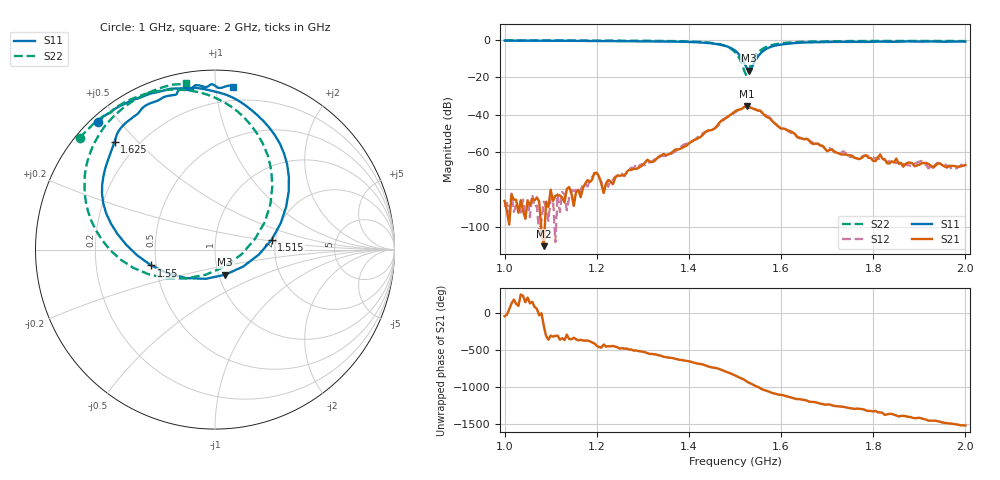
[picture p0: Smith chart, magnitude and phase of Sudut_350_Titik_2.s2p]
# Hz S RI R 50
! CMT, C1220, 16058040, 17.2.0/1
! Date: 14/08/2018 12:50:18
! Data: Format (Calibration Info)
! Freq  S11: Re/Im (F2)  S21: Re/Im (F2)  S12: Re/Im (F2)  S22: Re/Im (F2)
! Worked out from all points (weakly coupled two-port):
!   201 points, 1 GHz to 2 GHz, reference 50 ohm
!   highest |S21| = -35.37 dB at 1.525 GHz (marker M1); lowest = -110.3 dB at 1.085 GHz (marker M2)
!   lowest |S11| = -16.4 dB at 1.53 GHz (marker M3), VSWR 1.36, Z = 53.8 - j15.4 ohm
!   |S11| at or under -10 dB: 1.515 GHz to 1.547 GHz (31.35 MHz wide, 2.05 % of centre)
!   |S22| runs from -19.2 to -0.2 dB; largest |S21 - S12| = 0.00078
!   S11 on the Smith chart (normalised r, x): 1 GHz: 0.02, +0.44; 1.515 GHz: 1.90, +0.23; 1.55 GHz: 0.47, -0.10; 1.625 GHz: 0.12, +0.43; 2 GHz: 0.10, +1.11
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1e9  -0.6514 0.7133  3.58e-05 -3.42e-05  -3.39e-05 5.61e-07  -0.7536 0.6216
1.085e9  -0.5659 0.777  -3.02e-06 -3.08e-07  -1.22e-05 4.58e-05  -0.693 0.6845
1.17e9  -0.4813 0.8232  0.000107 -2.22e-05  0.000128 4.98e-05  -0.6183 0.7468
1.2e9  -0.4396 0.8395  3.64e-05 -0.000278  5.71e-05 -0.000268  -0.5851 0.7601
1.215e9  -0.4241 0.8443  3.36e-05 -7.34e-05  -1.56e-05 -8.4e-05  -0.5779 0.7686
1.225e9  -0.409 0.8498  7.16e-06 -0.000179  -8.03e-07 -0.000119  -0.5686 0.7792
1.235e9  -0.3904 0.8572  1.21e-05 -0.000138  -1.97e-05 -0.00018  -0.5572 0.7882
1.335e9  -0.2199 0.8972  -0.000647 0.000411  -0.000585 0.000413  -0.4039 0.8616
1.45e9  0.1825 0.7939  0.00377 -0.0011  0.00384 -0.00143  0.0188 0.8376
1.5e9  0.4109 0.3257  -0.00665 -0.0104  -0.00626 -0.00974  0.3192 0.3536
1.515e9  0.3157 0.0551  -0.014 -0.00329  -0.0141 -0.00368  0.2231 0.0597
1.525e9  0.1574 -0.0943  -0.0156 0.00684  -0.0158 0.00677  0.0552 -0.0946
1.53e9  0.0571 -0.1399  -0.0115 0.0106  -0.0116 0.0106  -0.0512 -0.1397
1.55e9  -0.3558 -0.0881  0.00234 0.0128  0.00186 0.0128  -0.4544 -0.1021
1.58e9  -0.6228 0.2583  0.00697 3.88e-05  0.00727 -0.000234  -0.7065 0.2101
1.625e9  -0.5599 0.6016  0.00126 -0.00316  0.00126 -0.00291  -0.7026 0.5173
1.67e9  -0.4464 0.7447  -0.000871 -0.00139  -0.000919 -0.00151  -0.6276 0.6681
1.77e9  -0.2397 0.8598  -0.000523 0.000387  -0.000569 0.000433  -0.4718 0.8182
1.815e9  -0.1843 0.8926  -9.55e-05 0.000862  3.9e-06 0.000599  -0.4083 0.856
1.835e9  -0.1363 0.887  0.000119 0.000483  0.000168 0.000557  -0.3813 0.8693
1.92e9  -0.0238 0.92  0.00046 -0.000133  0.000357 -7.69e-05  -0.2643 0.9119
2e9  0.1018 0.906  7.18e-05 -0.000446  8.87e-05 -0.000488  -0.1594 0.93
